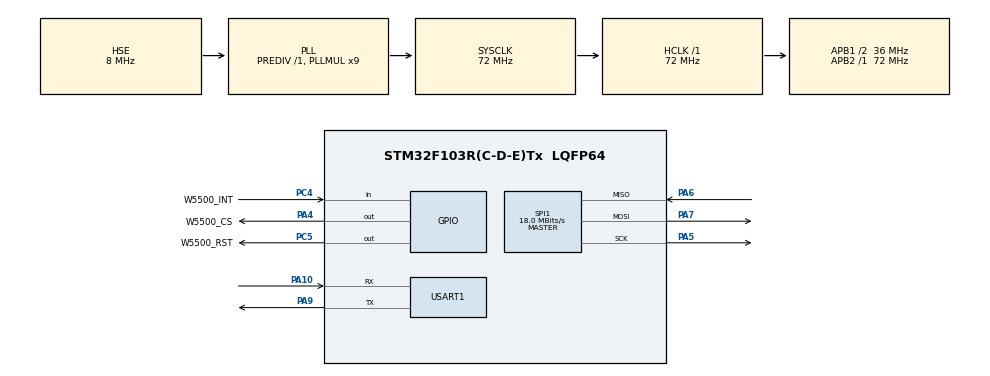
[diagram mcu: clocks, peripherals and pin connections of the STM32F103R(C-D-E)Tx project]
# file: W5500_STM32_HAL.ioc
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Mcu.Family=STM32F1
Mcu.Name=STM32F103R(C-D-E)Tx
Mcu.Package=LQFP64
NVIC.PriorityGroup=NVIC_PRIORITYGROUP_4
PA10.Mode=Asynchronous
PA10.Signal=USART1_RX
PA13.Mode=Serial_Wire
PA13.Signal=SYS_JTMS-SWDIO
PA14.Mode=Serial_Wire
PA14.Signal=SYS_JTCK-SWCLK
PA4.GPIO_Label=W5500_CS
PA4.GPIO_PuPd=GPIO_PULLDOWN
PA4.Signal=GPIO_Output
PA5.Mode=Full_Duplex_Master
PA5.Signal=SPI1_SCK
PA6.Mode=Full_Duplex_Master
PA6.Signal=SPI1_MISO
PA7.Mode=Full_Duplex_Master
PA7.Signal=SPI1_MOSI
PA9.Mode=Asynchronous
PA9.Signal=USART1_TX
PC4.GPIO_Label=W5500_INT
PC4.GPIO_PuPd=GPIO_PULLUP
PC4.Signal=GPIO_Input
PC5.GPIO_Label=W5500_RST
PC5.GPIO_PuPd=GPIO_PULLUP
PC5.Signal=GPIO_Output
PD0-OSC_IN.Mode=HSE-External-Oscillator
PD0-OSC_IN.Signal=RCC_OSC_IN
PD1-OSC_OUT.Mode=HSE-External-Oscillator
PD1-OSC_OUT.Signal=RCC_OSC_OUT
ProjectManager.HeapSize=0x200
ProjectManager.StackSize=0x400
ProjectManager.TargetToolchain=STM32CubeIDE
RCC.AHBFreq_Value=72000000
RCC.APB1CLKDivider=RCC_HCLK_DIV2
RCC.APB1Freq_Value=36000000
RCC.APB1TimFreq_Value=72000000
RCC.APB2Freq_Value=72000000
RCC.APB2TimFreq_Value=72000000
RCC.HCLKFreq_Value=72000000
RCC.PLLMUL=RCC_PLL_MUL9
RCC.PLLSourceVirtual=RCC_PLLSOURCE_HSE
RCC.SYSCLKFreq_VALUE=72000000
RCC.SYSCLKSource=RCC_SYSCLKSOURCE_PLLCLK
RCC.USBFreq_Value=72000000
SPI1.BaudRatePrescaler=SPI_BAUDRATEPRESCALER_4
SPI1.CalculateBaudRate=18.0 MBits/s
SPI1.Direction=SPI_DIRECTION_2LINES
SPI1.Mode=SPI_MODE_MASTER
SPI1.VirtualType=VM_MASTER
USART1.VirtualMode=VM_ASYNC
board=custom

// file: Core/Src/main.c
/* USER CODE BEGIN Header */
/**
  ******************************************************************************
  * @file           : main.c
  * @brief          : Main program body
  ******************************************************************************
  * @attention
  *
  * <h2><center>&copy; Copyright (c) 2020 STMicroelectronics.
  * All rights reserved.</center></h2>
  *
  * This software component is licensed by ST under BSD 3-Clause license,
  * the "License"; You may not use this file except in compliance with the
  * License. You may obtain a copy of the License at:
  *                        opensource.org/licenses/BSD-3-Clause
  *
  ******************************************************************************
  */
/* USER CODE END Header */

#include "main.h"

/* USER CODE BEGIN Includes */
#include "uart_printf/uart_printf.h"
#include "socket.h"
#include "loopback/loopback.h"
#include <string.h>  // memcmp
/* USER CODE END Includes */

SPI_HandleTypeDef hspi1;

UART_HandleTypeDef huart1;

void SystemClock_Config(void);
static void MX_GPIO_Init(void);
static void MX_SPI1_Init(void);
static void MX_USART1_UART_Init(void);

/* USER CODE BEGIN 0 */
void W5500_Select(void) {
    HAL_GPIO_WritePin(W5500_CS_GPIO_Port, W5500_CS_Pin, GPIO_PIN_RESET);
}

void W5500_Unselect(void) {
    HAL_GPIO_WritePin(W5500_CS_GPIO_Port, W5500_CS_Pin, GPIO_PIN_SET);
}

void W5500_Restart(void) {
    HAL_GPIO_WritePin(W5500_RST_GPIO_Port, W5500_RST_Pin, GPIO_PIN_RESET);
    HAL_Delay(1);  // delay 1ms
    HAL_GPIO_WritePin(W5500_RST_GPIO_Port, W5500_RST_Pin, GPIO_PIN_SET);
    HAL_Delay(1600);  // delay 1600ms
}

void W5500_ReadBuff(uint8_t* buff, uint16_t len) {
    HAL_SPI_Receive(&hspi1, buff, len, HAL_MAX_DELAY);
}

void W5500_WriteBuff(uint8_t* buff, uint16_t len) {
    HAL_SPI_Transmit(&hspi1, buff, len, HAL_MAX_DELAY);
}

uint8_t W5500_ReadByte(void) {
    uint8_t byte;
    W5500_ReadBuff(&byte, sizeof(byte));
    return byte;
}

void W5500_WriteByte(uint8_t byte) {
    W5500_WriteBuff(&byte, sizeof(byte));
}

wiz_NetInfo gSetNetInfo = {
  .mac  = {0x00, 0x08, 0xdc, 0x11, 0x11, 0x11},
  .ip   = {192, 168, 3, 99},
  .sn   = {255, 255, 255, 0},
  .gw   = {192, 168, 3, 1},
  .dns  = {144, 144, 144, 144},
  .dhcp = NETINFO_STATIC};

wiz_NetInfo gGetNetInfo;

enum Status
{
  Failed = 0,
  Success = 1
};

/**
 * @brief valid the result of set net info
 * @return 1: Success
 *         0: Failed
*/
uint8_t validSetNetInfoResult(wiz_NetInfo* _set, wiz_NetInfo* _get)
{
  return (!memcmp(_set, _get, sizeof(wiz_NetInfo)));  // if same, memcmp return 0
}
/* USER CODE END 0 */

int main(void)
{

  /* MCU Configuration--------------------------------------------------------*/

  /* Reset of all peripherals, Initializes the Flash interface and the Systick. */
  HAL_Init();

  /* Configure the system clock */
  SystemClock_Config();

  /* Initialize all configured peripherals */
  MX_GPIO_Init();
  MX_SPI1_Init();
  MX_USART1_UART_Init();
  /* USER CODE BEGIN 2 */
  reg_wizchip_cs_cbfunc(W5500_Select, W5500_Unselect);
  reg_wizchip_spi_cbfunc(W5500_ReadByte, W5500_WriteByte);

  W5500_Restart();  // hardware restart through RESET pin

  ctlnetwork(CN_SET_NETINFO, (void*)&gSetNetInfo);  // set net info
  // maybe need delay
  ctlnetwork(CN_GET_NETINFO, (void*)&gGetNetInfo);  // get net info

  if(Success == validSetNetInfoResult(&gSetNetInfo, &gGetNetInfo))  // compare
  {
    UART_Printf("Net info set success!\n");
  }
  else
  {
    UART_Printf("Net info set failed!\n");
    // do something
  }

  // W5500 has 8 channel, 32k buffer, 2 means 2KBytes
  uint8_t buffer_size_8channel_tx_rx[16] = {2, 2, 2, 2, 2, 2, 2, 2,  // 8 channel tx
                                            2, 2, 2, 2, 2, 2, 2, 2}; // 8 channel rx
  if(ctlwizchip(CW_INIT_WIZCHIP,(void*)buffer_size_8channel_tx_rx))
  {
    // failed
    UART_Printf("buffer size set failed!\n");
  }

  // set sever ip and port
  uint8_t destip[4] = {192, 168, 3, 107};
  uint16_t destport = 5000;
  // receive buffer
  uint8_t recv_buff[2048];
  /* USER CODE END 2 */

  /* Infinite loop */
  /* USER CODE BEGIN WHILE */
  UART_Printf("Init Done!");
  while (1)
  {
    // test as tcp client
    loopback_tcpc(0, (uint8_t*)recv_buff, destip, destport);
    /* USER CODE END WHILE */

  }
}

void SystemClock_Config(void)
{
  RCC_OscInitTypeDef RCC_OscInitStruct = {0};
  RCC_ClkInitTypeDef RCC_ClkInitStruct = {0};

  /** Initializes the CPU, AHB and APB busses clocks
  */
  RCC_OscInitStruct.OscillatorType = RCC_OSCILLATORTYPE_HSE;
  RCC_OscInitStruct.HSEState = RCC_HSE_ON;
  RCC_OscInitStruct.HSEPredivValue = RCC_HSE_PREDIV_DIV1;
  RCC_OscInitStruct.HSIState = RCC_HSI_ON;
  RCC_OscInitStruct.PLL.PLLState = RCC_PLL_ON;
  RCC_OscInitStruct.PLL.PLLSource = RCC_PLLSOURCE_HSE;
  RCC_OscInitStruct.PLL.PLLMUL = RCC_PLL_MUL9;
  if (HAL_RCC_OscConfig(&RCC_OscInitStruct) != HAL_OK)
  {
    Error_Handler();
  }
  /** Initializes the CPU, AHB and APB busses clocks
  */
  RCC_ClkInitStruct.ClockType = RCC_CLOCKTYPE_HCLK|RCC_CLOCKTYPE_SYSCLK
                              |RCC_CLOCKTYPE_PCLK1|RCC_CLOCKTYPE_PCLK2;
  RCC_ClkInitStruct.SYSCLKSource = RCC_SYSCLKSOURCE_PLLCLK;
  RCC_ClkInitStruct.AHBCLKDivider = RCC_SYSCLK_DIV1;
  RCC_ClkInitStruct.APB1CLKDivider = RCC_HCLK_DIV2;
  RCC_ClkInitStruct.APB2CLKDivider = RCC_HCLK_DIV1;

  if (HAL_RCC_ClockConfig(&RCC_ClkInitStruct, FLASH_LATENCY_2) != HAL_OK)
  {
    Error_Handler();
  }
}

static void MX_SPI1_Init(void)
{

  /* SPI1 parameter configuration*/
  hspi1.Instance = SPI1;
  hspi1.Init.Mode = SPI_MODE_MASTER;
  hspi1.Init.Direction = SPI_DIRECTION_2LINES;
  hspi1.Init.DataSize = SPI_DATASIZE_8BIT;
  hspi1.Init.CLKPolarity = SPI_POLARITY_LOW;
  hspi1.Init.CLKPhase = SPI_PHASE_1EDGE;
  hspi1.Init.NSS = SPI_NSS_SOFT;
  hspi1.Init.BaudRatePrescaler = SPI_BAUDRATEPRESCALER_4;
  hspi1.Init.FirstBit = SPI_FIRSTBIT_MSB;
  hspi1.Init.TIMode = SPI_TIMODE_DISABLE;
  hspi1.Init.CRCCalculation = SPI_CRCCALCULATION_DISABLE;
  hspi1.Init.CRCPolynomial = 10;
  if (HAL_SPI_Init(&hspi1) != HAL_OK)
  {
    Error_Handler();
  }

}

static void MX_USART1_UART_Init(void)
{

  huart1.Instance = USART1;
  huart1.Init.BaudRate = 115200;
  huart1.Init.WordLength = UART_WORDLENGTH_8B;
  huart1.Init.StopBits = UART_STOPBITS_1;
  huart1.Init.Parity = UART_PARITY_NONE;
  huart1.Init.Mode = UART_MODE_TX_RX;
  huart1.Init.HwFlowCtl = UART_HWCONTROL_NONE;
  huart1.Init.OverSampling = UART_OVERSAMPLING_16;
  if (HAL_UART_Init(&huart1) != HAL_OK)
  {
    Error_Handler();
  }

}

static void MX_GPIO_Init(void)
{
  GPIO_InitTypeDef GPIO_InitStruct = {0};

  /* GPIO Ports Clock Enable */
  __HAL_RCC_GPIOD_CLK_ENABLE();
  __HAL_RCC_GPIOA_CLK_ENABLE();
  __HAL_RCC_GPIOC_CLK_ENABLE();

  /*Configure GPIO pin Output Level */
  HAL_GPIO_WritePin(W5500_CS_GPIO_Port, W5500_CS_Pin, GPIO_PIN_RESET);

  /*Configure GPIO pin Output Level */
  HAL_GPIO_WritePin(W5500_RST_GPIO_Port, W5500_RST_Pin, GPIO_PIN_RESET);

  /*Configure GPIO pin : W5500_CS_Pin */
  GPIO_InitStruct.Pin = W5500_CS_Pin;
  GPIO_InitStruct.Mode = GPIO_MODE_OUTPUT_PP;
  GPIO_InitStruct.Pull = GPIO_PULLDOWN;
  GPIO_InitStruct.Speed = GPIO_SPEED_FREQ_LOW;
  HAL_GPIO_Init(W5500_CS_GPIO_Port, &GPIO_InitStruct);

  /*Configure GPIO pin : W5500_INT_Pin */
  GPIO_InitStruct.Pin = W5500_INT_Pin;
  GPIO_InitStruct.Mode = GPIO_MODE_INPUT;
  GPIO_InitStruct.Pull = GPIO_PULLUP;
  HAL_GPIO_Init(W5500_INT_GPIO_Port, &GPIO_InitStruct);

  /*Configure GPIO pin : W5500_RST_Pin */
  GPIO_InitStruct.Pin = W5500_RST_Pin;
  GPIO_InitStruct.Mode = GPIO_MODE_OUTPUT_PP;
  GPIO_InitStruct.Pull = GPIO_PULLUP;
  GPIO_InitStruct.Speed = GPIO_SPEED_FREQ_LOW;
  HAL_GPIO_Init(W5500_RST_GPIO_Port, &GPIO_InitStruct);

}

void Error_Handler(void)
{
}

/************************ (C) COPYRIGHT STMicroelectronics *****END OF FILE****/
